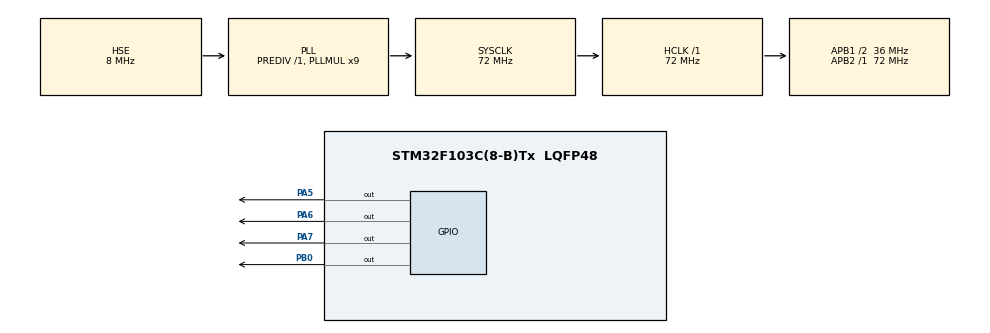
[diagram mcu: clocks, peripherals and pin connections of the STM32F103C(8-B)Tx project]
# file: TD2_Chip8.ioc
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Mcu.Family=STM32F1
Mcu.Name=STM32F103C(8-B)Tx
Mcu.Package=LQFP48
NVIC.PriorityGroup=NVIC_PRIORITYGROUP_4
PA13.Mode=Serial_Wire
PA13.Signal=SYS_JTMS-SWDIO
PA14.Mode=Serial_Wire
PA14.Signal=SYS_JTCK-SWCLK
PA5.Signal=GPIO_Output
PA6.Signal=GPIO_Output
PA7.Signal=GPIO_Output
PB0.Signal=GPIO_Output
PD0-OSC_IN.Mode=HSE-External-Oscillator
PD0-OSC_IN.Signal=RCC_OSC_IN
PD1-OSC_OUT.Mode=HSE-External-Oscillator
PD1-OSC_OUT.Signal=RCC_OSC_OUT
ProjectManager.HeapSize=0x200
ProjectManager.StackSize=0x400
ProjectManager.TargetToolchain=STM32CubeIDE
RCC.AHBFreq_Value=72000000
RCC.APB1CLKDivider=RCC_HCLK_DIV2
RCC.APB1Freq_Value=36000000
RCC.APB1TimFreq_Value=72000000
RCC.APB2Freq_Value=72000000
RCC.APB2TimFreq_Value=72000000
RCC.HCLKFreq_Value=72000000
RCC.PLLMUL=RCC_PLL_MUL9
RCC.PLLSourceVirtual=RCC_PLLSOURCE_HSE
RCC.SYSCLKFreq_VALUE=72000000
RCC.SYSCLKSource=RCC_SYSCLKSOURCE_PLLCLK
RCC.USBFreq_Value=72000000
TIM1.Period=0xffff-1
TIM1.Prescaler=72-1
VP_TIM1_VS_ClockSourceINT.Mode=Internal
board=custom

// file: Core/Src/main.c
/* USER CODE BEGIN Header */
/**
  ******************************************************************************
  * @file           : main.c
  * @brief          : Main program body
  ******************************************************************************
  * @attention
  *
  * <h2><center>&copy; Copyright (c) 2019 STMicroelectronics.
  * All rights reserved.</center></h2>
  *
  * This software component is licensed by ST under BSD 3-Clause license,
  * the "License"; You may not use this file except in compliance with the
  * License. You may obtain a copy of the License at:
  *                        opensource.org/licenses/BSD-3-Clause
  *
  ******************************************************************************
  */
/* USER CODE END Header */
/******************************/
//CONFIGURAR SPI #2!!
/*********************************/
#include <diskio.h>
#include <ff.h>
#include "main.h"

/* USER CODE BEGIN Includes */

#include "ST7920_SERIAL.h"
#include "delay.h"
#include "bitmap.h"

#include <string.h>
#include <stdio.h>
#include <stdlib.h>
#include "timer_monitor.h"

#define TICKS_SISTEMA	(1)
#define TICKS_SD		(1000)
#define TICKS_LEDS		(50)

uint32_t ticks;
/* USER CODE END Includes */

TIM_HandleTypeDef htim1;

void SystemClock_Config(void);
static void MX_GPIO_Init(void);
static void MX_TIM1_Init(void);

/* USER CODE BEGIN 0 */
uint32_t get_fattime(void)
{
	uint32_t dia = 8;
	uint32_t mes = 7;
	uint32_t anio = 2020;
	return ((anio - 1980) << 25) | (mes << 21) | (dia << 16);
}

/* USER CODE END 0 */

int main(void)
{

  /* MCU Configuration--------------------------------------------------------*/
	uint32_t t_us;
	uint32_t ticks_sd_write;
	uint32_t ticks_leds;
	uint32_t bw;
	int ton;
	int len;
	char datos[64];
	FATFS fs;
	FIL fp;
	FILINFO fno;
	FRESULT res;

	HAL_Init();

	ticks = TICKS_SISTEMA;
	ticks_leds = TICKS_LEDS;
	ticks_sd_write = TICKS_SD;
	SystemClock_Config();
	MX_GPIO_Init();
	inic_timer();

	start_timer();
	f_mount(&fs, "", 0);
	res = f_open(&fp, "0:config.txt", FA_OPEN_EXISTING | FA_READ);
	t_us = stop_timer();
	/*
	 * La primera vez, que incluye inicializar la SD,
	 * montar la SD y abrir el archivo tarda 14,8ms
	 *
	 */
  /* Reset of all peripherals, Initializes the Flash interface and the Systick. */

  /* Configure the system clock */

  /* Initialize all configured peripherals */
  MX_GPIO_Init();
  MX_TIM1_Init();
  /* USER CODE BEGIN 2 */

  delay_init();

  ST7920_Init();

  /* USER CODE END 2 */

  /* Infinite loop */
  while (1)
  {
	   ST7920_Clear();
	   ST7920_SendString(0,0, "Hola");
	    ST7920_SendString(1,0, "vengo");
	    ST7920_SendString(2,0, "a");
	    ST7920_SendString(3,0, "flotar");

	    HAL_Delay(2000);
	    HAL_Delay(2000);

	    ST7920_Clear();

	    ST7920_GraphicMode(1);

	   // ST7920_DrawBitmap(bitmap);

	    HAL_Delay(2000);

	    ST7920_Clear();

	    //ST7920_DrawBitmap(logo);

	    ST7920_Clear();

	    HAL_Delay(100);

	    DrawCircle(110, 31, 12);

	    DrawCircle(110, 31, 16);

	    DrawLine(3, 60, 127, 33);

	    ST7920_Update();

	    DrawRectangle (100, 12, 20, 14);

	    ST7920_Update();

	    DrawFilledRectangle(30, 20, 30, 10);

	    ST7920_Update();

	    DrawFilledCircle(15, 30, 6);

	    ST7920_Update();

	    DrawFilledTriangle(1,5,10,5,6,15);

	    ST7920_Update();
  }
}

void SystemClock_Config(void)
{
  RCC_OscInitTypeDef RCC_OscInitStruct = {0};
  RCC_ClkInitTypeDef RCC_ClkInitStruct = {0};

  /** Initializes the CPU, AHB and APB busses clocks
  */
  RCC_OscInitStruct.OscillatorType = RCC_OSCILLATORTYPE_HSE;
  RCC_OscInitStruct.HSEState = RCC_HSE_ON;
  RCC_OscInitStruct.HSEPredivValue = RCC_HSE_PREDIV_DIV1;
  RCC_OscInitStruct.HSIState = RCC_HSI_ON;
  RCC_OscInitStruct.PLL.PLLState = RCC_PLL_ON;
  RCC_OscInitStruct.PLL.PLLSource = RCC_PLLSOURCE_HSE;
  RCC_OscInitStruct.PLL.PLLMUL = RCC_PLL_MUL9;
  if (HAL_RCC_OscConfig(&RCC_OscInitStruct) != HAL_OK)
  {
    Error_Handler();
  }
  /** Initializes the CPU, AHB and APB busses clocks
  */
  RCC_ClkInitStruct.ClockType = RCC_CLOCKTYPE_HCLK|RCC_CLOCKTYPE_SYSCLK
                              |RCC_CLOCKTYPE_PCLK1|RCC_CLOCKTYPE_PCLK2;
  RCC_ClkInitStruct.SYSCLKSource = RCC_SYSCLKSOURCE_PLLCLK;
  RCC_ClkInitStruct.AHBCLKDivider = RCC_SYSCLK_DIV1;
  RCC_ClkInitStruct.APB1CLKDivider = RCC_HCLK_DIV2;
  RCC_ClkInitStruct.APB2CLKDivider = RCC_HCLK_DIV1;

  if (HAL_RCC_ClockConfig(&RCC_ClkInitStruct, FLASH_LATENCY_2) != HAL_OK)
  {
    Error_Handler();
  }
}

static void MX_TIM1_Init(void)
{

  TIM_ClockConfigTypeDef sClockSourceConfig = {0};
  TIM_MasterConfigTypeDef sMasterConfig = {0};

  htim1.Instance = TIM1;
  htim1.Init.Prescaler = 72-1;
  htim1.Init.CounterMode = TIM_COUNTERMODE_UP;
  htim1.Init.Period = 0xffff-1;
  htim1.Init.ClockDivision = TIM_CLOCKDIVISION_DIV1;
  htim1.Init.RepetitionCounter = 0;
  htim1.Init.AutoReloadPreload = TIM_AUTORELOAD_PRELOAD_DISABLE;
  if (HAL_TIM_Base_Init(&htim1) != HAL_OK)
  {
    Error_Handler();
  }
  sClockSourceConfig.ClockSource = TIM_CLOCKSOURCE_INTERNAL;
  if (HAL_TIM_ConfigClockSource(&htim1, &sClockSourceConfig) != HAL_OK)
  {
    Error_Handler();
  }
  sMasterConfig.MasterOutputTrigger = TIM_TRGO_RESET;
  sMasterConfig.MasterSlaveMode = TIM_MASTERSLAVEMODE_DISABLE;
  if (HAL_TIMEx_MasterConfigSynchronization(&htim1, &sMasterConfig) != HAL_OK)
  {
    Error_Handler();
  }

}

static void MX_GPIO_Init(void)
{
  GPIO_InitTypeDef GPIO_InitStruct = {0};

  /* GPIO Ports Clock Enable */
  __HAL_RCC_GPIOD_CLK_ENABLE();
  __HAL_RCC_GPIOA_CLK_ENABLE();
  __HAL_RCC_GPIOB_CLK_ENABLE();

  /*Configure GPIO pin Output Level */
  HAL_GPIO_WritePin(GPIOA, GPIO_PIN_5|GPIO_PIN_6|GPIO_PIN_7, GPIO_PIN_RESET);

  /*Configure GPIO pin Output Level */
  HAL_GPIO_WritePin(GPIOB, GPIO_PIN_0, GPIO_PIN_RESET);

  /*Configure GPIO pins : PA5 PA6 PA7 */
  GPIO_InitStruct.Pin = GPIO_PIN_5|GPIO_PIN_6|GPIO_PIN_7;
  GPIO_InitStruct.Mode = GPIO_MODE_OUTPUT_PP;
  GPIO_InitStruct.Pull = GPIO_NOPULL;
  GPIO_InitStruct.Speed = GPIO_SPEED_FREQ_LOW;
  HAL_GPIO_Init(GPIOA, &GPIO_InitStruct);

  /*Configure GPIO pin : PB0 */
  GPIO_InitStruct.Pin = GPIO_PIN_0;
  GPIO_InitStruct.Mode = GPIO_MODE_OUTPUT_PP;
  GPIO_InitStruct.Pull = GPIO_NOPULL;
  GPIO_InitStruct.Speed = GPIO_SPEED_FREQ_LOW;
  HAL_GPIO_Init(GPIOB, &GPIO_InitStruct);

}

void Error_Handler(void)
{
}

/************************ (C) COPYRIGHT STMicroelectronics *****END OF FILE****/
